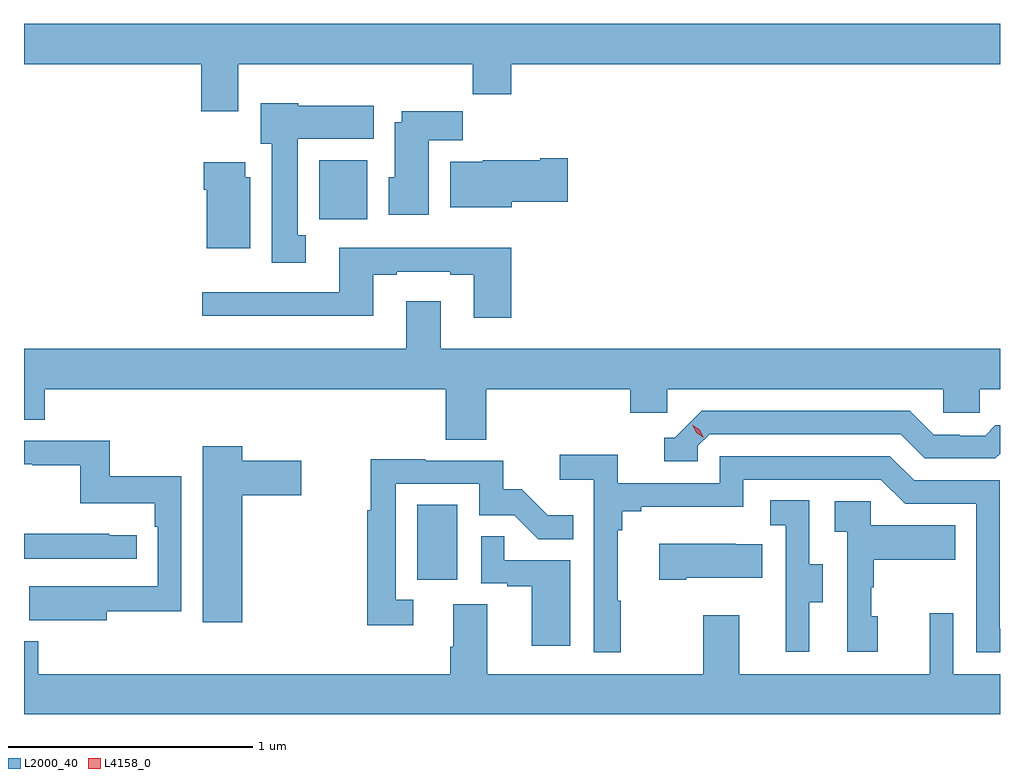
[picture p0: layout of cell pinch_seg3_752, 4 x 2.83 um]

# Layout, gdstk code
import gdstk
lib = gdstk.Library(unit=1e-6, precision=1e-09)
def R(c, l, rs):  # rectangles x0, y0, x1, y1
    for r in rs: c.add(gdstk.rectangle(r[:2], r[2:], *l))
def P(c, l, *ps):  # polygons
    for p in ps: c.add(gdstk.Polygon(p, *l))
L2000_40 = (2000, 40)
L4158_0 = (4158, 0)

pinch_seg3_752 = lib.new_cell('pinch_seg3_752')
R(pinch_seg3_752, L2000_40, [(839.09,729.438,839.254,729.745), (838.688,730.916,838.885,731.158)])
P(pinch_seg3_752, L2000_40, [(837.478,731.552),(838.205,731.552),(838.205,731.358),(838.357,731.358),(838.357,731.552),(839.317,731.552),(839.317,731.428),(839.474,731.428),(839.474,731.552),(841.478,731.552),(841.478,731.716),(837.478,731.716)],
  [(838.633,730.85),(838.6,730.85),(838.6,731.246),(838.912,731.246),(838.912,731.38),(838.602,731.38),(838.602,731.392),(838.448,731.392),(838.448,731.226),(838.493,731.226),(838.493,730.737),(838.633,730.737)],
  [(839.137,731.24),(839.276,731.24),(839.276,731.359),(839.027,731.359),(839.027,731.314),(838.997,731.314),(838.997,731.088),(838.973,731.088),(838.973,730.934),(839.137,730.934)],
  [(839.476,730.988),(839.707,730.988),(839.707,731.166),(839.594,731.166),(839.594,731.158),(839.358,731.158),(839.358,731.152),(839.225,731.152),(839.225,730.964),(839.476,730.964)],
  [(838.405,731.088),(838.384,731.088),(838.384,731.149),(838.214,731.149),(838.214,731.036),(838.226,731.036),(838.226,730.796),(838.405,730.796)],
  [(839.474,730.798),(838.769,730.798),(838.769,730.617),(838.209,730.617),(838.209,730.52),(838.909,730.52),(838.909,730.689),(839.005,730.689),(839.005,730.701),(839.225,730.701),(839.225,730.689),(839.321,730.689),(839.321,730.512),(839.474,730.512)],
  [(839.372,730.22),(839.963,730.22),(839.963,730.122),(840.114,730.122),(840.114,730.22),(841.245,730.22),(841.245,730.122),(841.395,730.122),(841.395,730.22),(841.478,730.22),(841.478,730.384),(839.185,730.384),(839.185,730.579),(839.045,730.579),(839.045,730.384),(837.478,730.384),(837.478,730.093),(837.563,730.093),(837.563,730.22),(839.207,730.22),(839.207,730.012),(839.372,730.012)],
  [(840.24,729.987),(840.288,730.035),(841.071,730.035),(841.17,729.936),(841.459,729.936),(841.478,729.955),(841.478,730.072),(841.459,730.072),(841.417,730.029),(841.314,730.029),(841.314,730.032),(841.207,730.032),(841.108,730.131),(840.255,730.131),(840.144,730.02),(840.101,730.02),(840.101,729.924),(840.24,729.924)],
  [(837.817,729.31),(838.122,729.31),(838.122,729.862),(837.829,729.862),(837.829,730.008),(837.478,730.008),(837.478,729.912),(837.511,729.912),(837.511,729.907),(837.708,729.907),(837.708,729.752),(838.013,729.752),(838.013,729.656),(838.026,729.656),(838.026,729.411),(837.713,729.411),(837.713,729.412),(837.499,729.412),(837.499,729.272),(837.817,729.272)],
  [(838.372,729.785),(838.615,729.785),(838.615,729.927),(838.372,729.927),(838.372,729.985),(838.211,729.985),(838.211,729.264),(838.372,729.264)],
  [(839.923,729.353),(839.911,729.353),(839.911,729.641),(839.93,729.641),(839.93,729.718),(840.007,729.718),(840.007,729.737),(840.426,729.737),(840.426,729.849),(840.99,729.849),(841.089,729.75),(841.38,729.75),(841.38,729.141),(841.478,729.141),(841.478,729.237),(841.476,729.237),(841.476,729.846),(841.126,729.846),(841.027,729.945),(840.33,729.945),(840.33,729.834),(839.912,729.834),(839.912,729.95),(839.673,729.95),(839.673,729.848),(839.814,729.848),(839.814,729.141),(839.923,729.141)],
  [(839.074,729.357),(839.001,729.357),(839.001,729.831),(839.343,729.831),(839.343,729.702),(839.487,729.702),(839.585,729.604),(839.729,729.604),(839.729,729.703),(839.625,729.703),(839.518,729.81),(839.442,729.81),(839.442,729.927),(839.123,729.927),(839.123,729.932),(838.9,729.932),(838.9,729.724),(838.885,729.724),(838.885,729.252),(839.074,729.252)],
  [(840.697,729.346),(840.751,729.346),(840.751,729.501),(840.696,729.501),(840.696,729.764),(840.537,729.764),(840.537,729.661),(840.6,729.661),(840.6,729.357),(840.599,729.357),(840.599,729.144),(840.697,729.144)],
  [(840.976,729.288),(840.951,729.288),(840.951,729.407),(840.961,729.407),(840.961,729.521),(841.295,729.521),(841.295,729.661),(840.948,729.661),(840.948,729.759),(840.801,729.759),(840.801,729.635),(840.852,729.635),(840.852,729.144),(840.976,729.144)],
  [(837.94,729.621),(837.827,729.621),(837.827,729.626),(837.478,729.626),(837.478,729.525),(837.94,729.525)],
  [(839.716,729.519),(839.447,729.519),(839.447,729.617),(839.352,729.617),(839.352,729.423),(839.459,729.423),(839.459,729.411),(839.558,729.411),(839.558,729.168),(839.716,729.168)],
  [(840.193,729.446),(840.503,729.446),(840.503,729.583),(840.395,729.583),(840.395,729.586),(840.081,729.586),(840.081,729.439),(840.193,729.439)],
  [(841.478,729.052),(841.287,729.052),(841.287,729.301),(841.19,729.301),(841.19,729.052),(840.409,729.052),(840.409,729.292),(840.262,729.292),(840.262,729.052),(839.377,729.052),(839.377,729.338),(839.237,729.338),(839.237,729.164),(839.225,729.164),(839.225,729.052),(837.536,729.052),(837.536,729.187),(837.478,729.187),(837.478,728.888),(841.478,728.888)])
P(pinch_seg3_752, L4158_0, [(840.263,730.021),(840.233,730.04),(840.216,730.073),(840.216,730.073),(840.217,730.073),(840.248,730.054),(840.264,730.021),(840.264,730.021)])

lib.write_gds('pinch_seg3_752.gds')
